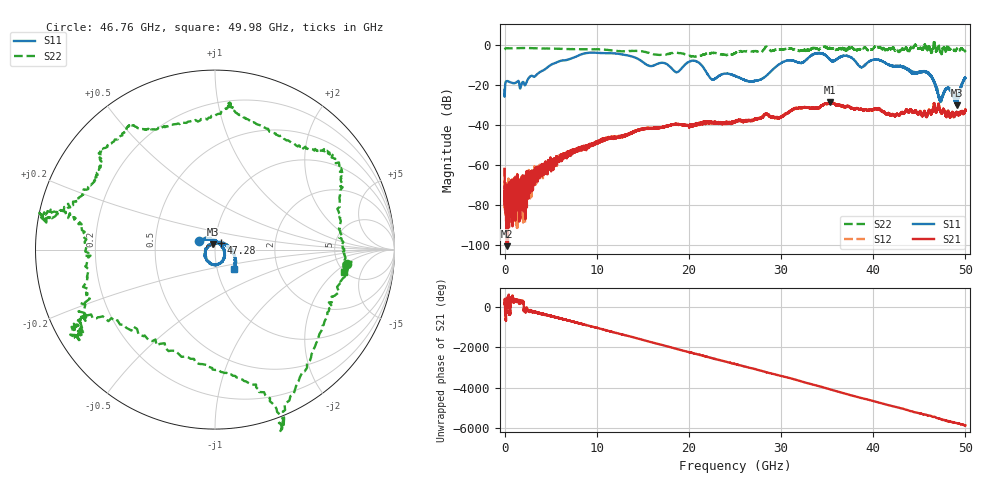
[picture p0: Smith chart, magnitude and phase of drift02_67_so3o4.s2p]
!Created with skrf (http://scikit-rf.org).
# Hz S RI R 50.0
!freq ReS11 ImS11 ReS21 ImS21 ReS12 ImS12 ReS22 ImS22
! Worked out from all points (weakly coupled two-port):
!   10001 points, 300 kHz to 50 GHz, reference 50 ohm
!   highest |S21| = -28.52 dB at 35.32 GHz (marker M1); lowest = -100.7 dB at 230.3 MHz (marker M2)
!   lowest |S11| = -30.0 dB at 49.04 GHz (marker M3), VSWR 1.07, Z = 49 + j2.96 ohm
!   |S11| at or under -10 dB: start of sweep to 4.955 GHz; 21.38 GHz to 29.63 GHz (8.248 GHz wide, 32.3 % of centre); 41.88 GHz to end of sweep (the widest 3 of 12)
!   |S22| runs from -5.7 to 2.5 dB; largest |S21 - S12| = 0.0032
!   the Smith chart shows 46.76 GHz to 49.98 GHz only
!   S11 on the Smith chart (normalised r, x): 46.76 GHz: 0.83, +0.08; 47.28 GHz: 1.06, +0.08; 49.98 GHz: 1.20, -0.27
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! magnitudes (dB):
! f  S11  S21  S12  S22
! 300 kHz  -22.3  -62.0  -61.4  -2.1
! 230.3 MHz  -17.9  -100.7  -74.9  -1.4
! 1.87 GHz  -19.1  -73.2  -71.5  -1.3
! 3.7 GHz  -13.8  -64.3  -62.7  -1.5
! 8.335 GHz  -4.5  -52.0  -50.7  -1.9
! 16.67 GHz  -9.1  -41.3  -41.4  -4.7
! 18.7 GHz  -13.5  -39.6  -39.5  -3.7
! 20.61 GHz  -7.7  -40.2  -40.1  -5.7
! 22.52 GHz  -17.1  -38.5  -38.9  -3.7
! 25 GHz  -15.3  -38.1  -38.4  -3.9
! 27.5 GHz  -17.6  -36.5  -36.4  -3.2
! 30.21 GHz  -8.3  -35.5  -35.3  -2.1
! 33.34 GHz  -4.9  -31.4  -31.3  -1.6
! 35.32 GHz  -7.1  -28.5  -28.8  -1.4
! 41.67 GHz  -9.7  -34.1  -34.3  -1.8
! 45.79 GHz  -13.5  -35.7  -35.6  -2.2
! 46.76 GHz  -19.8  -32.9  -32.5  -2.6
! 47.28 GHz  -26.1  -33.2  -33.1  -3.4
! 48.13 GHz  -21.2  -33.1  -33.3  -0.6
! 49.04 GHz  -30.0  -34.0  -34.0  -1.8
! 49.98 GHz  -16.4  -32.4  -33.1  -2.8
! 50 GHz  -16.4  -32.8  -32.5  -2.8
